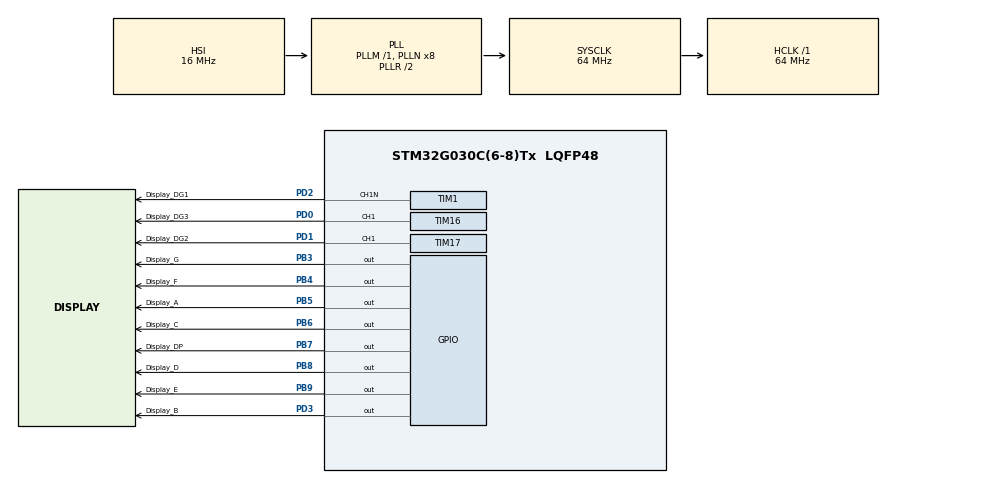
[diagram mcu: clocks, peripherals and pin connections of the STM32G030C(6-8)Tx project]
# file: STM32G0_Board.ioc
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ADC1.Channel-0\#ChannelRegularConversion=ADC_CHANNEL_VREFINT
ADC1.ChannelVREF=ADC_CHANNEL_VREFINT
ADC1.ContinuousConvMode=DISABLE
ADC1.NbrOfConversionFlag=1
ADC1.Rank-0\#ChannelRegularConversion=1
ADC1.SamplingTime-0\#ChannelRegularConversion=ADC_SAMPLINGTIME_COMMON_1
ADC1.SelectedChannel=ADC_CHANNEL_VREFINT
ADC1.master=1
Mcu.Family=STM32G0
Mcu.Name=STM32G030C(6-8)Tx
Mcu.Package=LQFP48
PA13.Mode=Serial_Wire
PA13.Signal=SYS_SWDIO
PA14-BOOT0.Mode=Serial_Wire
PA14-BOOT0.Signal=SYS_SWCLK
PB3.GPIO_Label=Display_G
PB3.Signal=GPIO_Output
PB4.GPIO_Label=Display_F
PB4.Signal=GPIO_Output
PB5.GPIO_Label=Display_A
PB5.Signal=GPIO_Output
PB6.GPIO_Label=Display_C
PB6.Signal=GPIO_Output
PB7.GPIO_Label=Display_DP
PB7.Signal=GPIO_Output
PB8.GPIO_Label=Display_D
PB8.Signal=GPIO_Output
PB9.GPIO_Label=Display_E
PB9.Signal=GPIO_Output
PD0.GPIO_Label=Display_DG3
PD0.Signal=S_TIM16_CH1
PD1.GPIO_Label=Display_DG2
PD1.Signal=S_TIM17_CH1
PD2.GPIO_Label=Display_DG1
PD2.Mode=PWM Generation1 CH1N
PD2.Signal=TIM1_CH1N
PD3.GPIO_Label=Display_B
PD3.Signal=GPIO_Output
PF0-OSC_IN\ (PF0).Mode=HSE-External-Oscillator
PF0-OSC_IN\ (PF0).Signal=RCC_OSC_IN
PF1-OSC_OUT\ (PF1).Mode=HSE-External-Oscillator
PF1-OSC_OUT\ (PF1).Signal=RCC_OSC_OUT
ProjectManager.HeapSize=0x200
ProjectManager.StackSize=0x400
ProjectManager.TargetToolchain=MDK-ARM V5.32
RCC.ADCFreq_Value=64000000
RCC.AHBFreq_Value=64000000
RCC.CortexFreq_Value=64000000
RCC.EXTERNAL_CLOCK_VALUE=12288000
RCC.HCLKFreq_Value=64000000
RCC.HSE_VALUE=8000000
RCC.HSI_VALUE=16000000
RCC.LSE_VALUE=32768
RCC.SYSCLKFreq_VALUE=64000000
RCC.SYSCLKSource=RCC_SYSCLKSOURCE_PLLCLK
RCC.VCOOutputFreq_Value=128000000
SH.S_TIM16_CH1.0=TIM16_CH1,PWM Generation1 CH1
SH.S_TIM17_CH1.0=TIM17_CH1,PWM Generation1 CH1
TIM1.AutoReloadPreload=TIM_AUTORELOAD_PRELOAD_ENABLE
TIM1.Channel-PWM\ Generation1\ CH1N=TIM_CHANNEL_1
TIM1.Period=999
TIM1.Prescaler=63
TIM16.AutoReloadPreload=TIM_AUTORELOAD_PRELOAD_ENABLE
TIM16.Channel=TIM_CHANNEL_1
TIM16.Period=999
TIM16.Prescaler=63
TIM16.Pulse=10
TIM17.AutoReloadPreload=TIM_AUTORELOAD_PRELOAD_ENABLE
TIM17.Channel=TIM_CHANNEL_1
TIM17.Period=999
TIM17.Prescaler=63
TIM17.Pulse=10
VP_ADC1_Vref_Input.Mode=IN-Vrefint
VP_TIM16_VS_ClockSourceINT.Mode=Enable_Timer
VP_TIM17_VS_ClockSourceINT.Mode=Enable_Timer
VP_TIM1_VS_ClockSourceINT.Mode=Internal
board=custom

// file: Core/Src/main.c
/* USER CODE BEGIN Header */
/**
  ******************************************************************************
  * @file           : main.c
  * @brief          : Main program body
  ******************************************************************************
  * @attention
  *
  * Copyright (c) 2022 STMicroelectronics.
  * All rights reserved.
  *
  * This software is licensed under terms that can be found in the LICENSE file
  * in the root directory of this software component.
  * If no LICENSE file comes with this software, it is provided AS-IS.
  *
  ******************************************************************************
  */
/* USER CODE END Header */
#include "main.h"
#include "adc.h"
#include "tim.h"
#include "gpio.h"

/* USER CODE BEGIN Includes */
#include "stdint.h"
#include "test.h"
/* USER CODE END Includes */

void SystemClock_Config(void);

/* USER CODE BEGIN 0 */
void Flash_OB_Handle(void) {
	FLASH_OBProgramInitTypeDef optionsbytesstruct;
	uint8_t UPDATE = 0;

	HAL_FLASHEx_OBGetConfig(&optionsbytesstruct);
	uint32_t userconfig = optionsbytesstruct.USERConfig;

	if((userconfig & FLASH_OPTR_nBOOT_SEL_Msk) != OB_BOOT0_FROM_PIN) {
		userconfig &= ~FLASH_OPTR_nBOOT_SEL_Msk;
		userconfig |= OB_BOOT0_FROM_PIN;
		UPDATE = 1;
	}

	if(UPDATE) {
		optionsbytesstruct.USERConfig = userconfig;
		HAL_FLASH_Unlock();
		HAL_FLASH_OB_Unlock();
		HAL_FLASHEx_OBProgram(&optionsbytesstruct);
		HAL_FLASH_OB_Launch();
		HAL_FLASH_OB_Lock();
		HAL_FLASH_Lock();
	}
}
/* USER CODE END 0 */

int main(void)
{

  /* MCU Configuration--------------------------------------------------------*/

  /* Reset of all peripherals, Initializes the Flash interface and the Systick. */
  HAL_Init();

  /* Configure the system clock */
  SystemClock_Config();

  /* USER CODE BEGIN SysInit */
	Flash_OB_Handle();
  /* USER CODE END SysInit */

  /* Initialize all configured peripherals */
  MX_GPIO_Init();
  MX_TIM1_Init();
  MX_TIM16_Init();
  MX_TIM17_Init();
  MX_ADC1_Init();
  /* USER CODE BEGIN 2 */
	Setup();

  /* USER CODE END 2 */

  /* Infinite loop */
  /* USER CODE BEGIN WHILE */
  while (1)
  {
		Loop();
    /* USER CODE END WHILE */

  }
}

void SystemClock_Config(void)
{
  RCC_OscInitTypeDef RCC_OscInitStruct = {0};
  RCC_ClkInitTypeDef RCC_ClkInitStruct = {0};

  /** Configure the main internal regulator output voltage
  */
  HAL_PWREx_ControlVoltageScaling(PWR_REGULATOR_VOLTAGE_SCALE1);

  /** Initializes the RCC Oscillators according to the specified parameters
  * in the RCC_OscInitTypeDef structure.
  */
  RCC_OscInitStruct.OscillatorType = RCC_OSCILLATORTYPE_HSI;
  RCC_OscInitStruct.HSIState = RCC_HSI_ON;
  RCC_OscInitStruct.HSIDiv = RCC_HSI_DIV1;
  RCC_OscInitStruct.HSICalibrationValue = RCC_HSICALIBRATION_DEFAULT;
  RCC_OscInitStruct.PLL.PLLState = RCC_PLL_ON;
  RCC_OscInitStruct.PLL.PLLSource = RCC_PLLSOURCE_HSI;
  RCC_OscInitStruct.PLL.PLLM = RCC_PLLM_DIV1;
  RCC_OscInitStruct.PLL.PLLN = 8;
  RCC_OscInitStruct.PLL.PLLP = RCC_PLLP_DIV2;
  RCC_OscInitStruct.PLL.PLLR = RCC_PLLR_DIV2;
  if (HAL_RCC_OscConfig(&RCC_OscInitStruct) != HAL_OK)
  {
    Error_Handler();
  }

  /** Initializes the CPU, AHB and APB buses clocks
  */
  RCC_ClkInitStruct.ClockType = RCC_CLOCKTYPE_HCLK|RCC_CLOCKTYPE_SYSCLK
                              |RCC_CLOCKTYPE_PCLK1;
  RCC_ClkInitStruct.SYSCLKSource = RCC_SYSCLKSOURCE_PLLCLK;
  RCC_ClkInitStruct.AHBCLKDivider = RCC_SYSCLK_DIV1;
  RCC_ClkInitStruct.APB1CLKDivider = RCC_HCLK_DIV1;

  if (HAL_RCC_ClockConfig(&RCC_ClkInitStruct, FLASH_LATENCY_2) != HAL_OK)
  {
    Error_Handler();
  }
}

void Error_Handler(void)
{
  __disable_irq();
  while (1)
  {
  }
}
